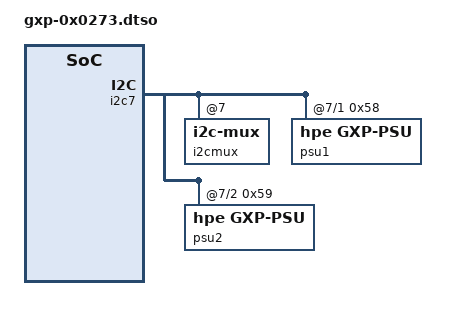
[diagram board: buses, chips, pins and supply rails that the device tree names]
// SPDX-License-Identifier: GPL-2.0
/dts-v1/;
/plugin/;
&{/} {
	model = "HPE ProLiant DL340 Gen12";
	compatible = "hpe,gxp-dl340gen12", "hpe,gxp";
};
&{/ahb@80000000} {
	/include/ "gxp-ubm-mux3.dtsi"
	i2cmux@7 {
		compatible = "i2c-mux";
		i2c-parent = <&i2c7>;
		mux-controls = <&i2c_mux_ctrl 7>;
		#address-cells = <1>;
		#size-cells = <0>;
		i2c7@1 {
			reg = <1>;
			#address-cells = <1>;
			#size-cells = <0>;
			psu1: psu@58 {
				compatible = "hpe,gxp-psu";
				reg = <0x58>;
			};
		};
		i2c7@2 {
			reg = <2>;
			#address-cells = <1>;
			#size-cells = <0>;
			psu2: psu@59 {
				compatible = "hpe,gxp-psu";
				reg = <0x59>;
			};
		};
	};
	syspower: syspower {
		compatible = "hpe,gxp-power";
		psu_phandle = <&psu1>, <&psu2>;
	};
};
